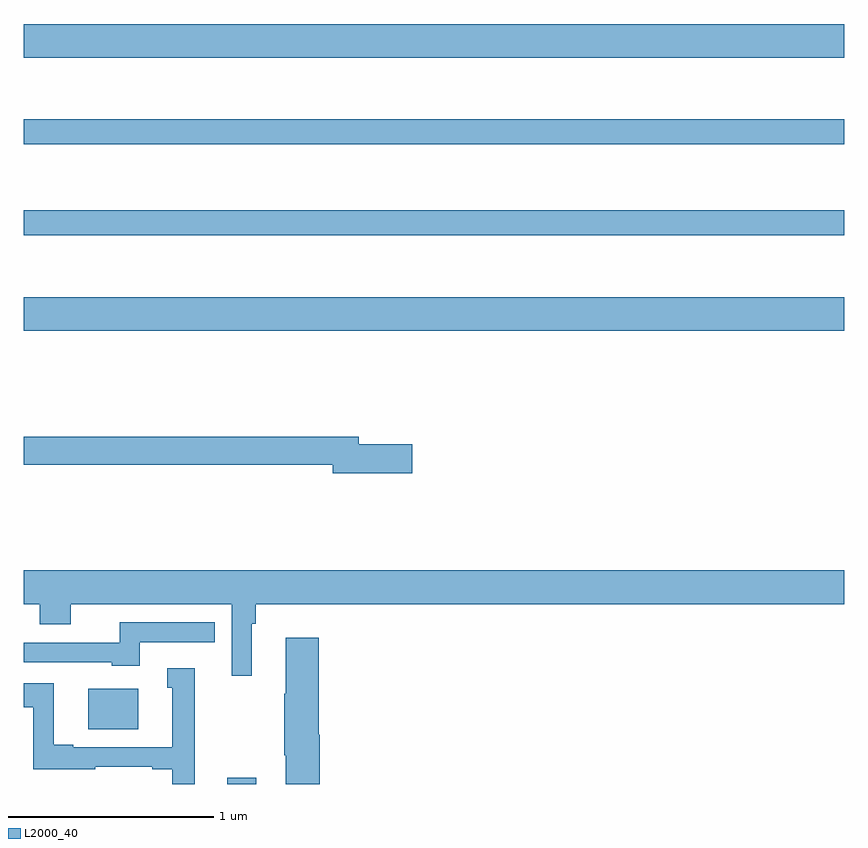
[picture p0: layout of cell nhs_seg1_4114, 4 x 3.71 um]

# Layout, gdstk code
import gdstk
lib = gdstk.Library(unit=1e-6, precision=1e-09)
def R(c, l, rs):  # rectangles x0, y0, x1, y1
    for r in rs: c.add(gdstk.rectangle(r[:2], r[2:], *l))
def P(c, l, *ps):  # polygons
    for p in ps: c.add(gdstk.Polygon(p, *l))
L2000_40 = (2000, 40)

nhs_seg1_4114 = lib.new_cell('nhs_seg1_4114')
R(nhs_seg1_4114, L2000_40, [(335.993,540.199,336.133,540.229), (335.315,540.467,335.557,540.664), (335,542.408,339,542.572), (335,542.874,339,542.995), (335,543.318,339,543.439), (335,543.74,339,543.904)])
P(nhs_seg1_4114, L2000_40, [(336.895,541.856),(336.634,541.856),(336.634,541.892),(335,541.892),(335,541.756),(336.506,541.756),(336.506,541.714),(336.895,541.714)],
  [(336.112,540.98),(336.131,540.98),(336.131,541.076),(339,541.076),(339,541.24),(335,541.24),(335,541.076),(335.078,541.076),(335.078,540.977),(335.23,540.977),(335.23,541.076),(336.015,541.076),(336.015,540.726),(336.112,540.726)],
  [(335.566,540.891),(335.93,540.891),(335.93,540.987),(335.467,540.987),(335.467,540.888),(335,540.888),(335,540.792),(335.43,540.792),(335.43,540.776),(335.566,540.776)],
  [(336.442,540.438),(336.437,540.438),(336.437,540.913),(336.278,540.913),(336.278,540.638),(336.271,540.638),(336.271,540.338),(336.278,540.338),(336.278,540.199),(336.442,540.199)],
  [(335.833,540.763),(335.699,540.763),(335.699,540.669),(335.723,540.669),(335.723,540.378),(335.242,540.378),(335.242,540.391),(335.146,540.391),(335.146,540.69),(335,540.69),(335,540.574),(335.047,540.574),(335.047,540.27),(335.348,540.27),(335.348,540.282),(335.627,540.282),(335.627,540.27),(335.723,540.27),(335.723,540.199),(335.833,540.199)])

lib.write_gds('nhs_seg1_4114.gds')
